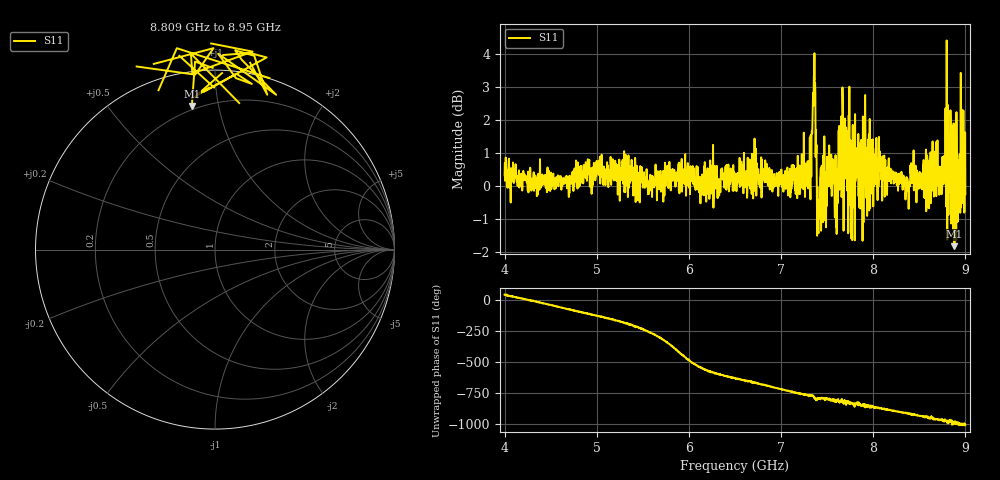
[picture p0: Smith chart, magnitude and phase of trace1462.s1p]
! Created with skrf 1.8.0 (http://scikit-rf.org).
# Hz S RI R 50.0
!freq ReS11 ImS11
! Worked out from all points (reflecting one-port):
!   1601 points, 4 GHz to 9 GHz, reference 50 ohm
!   lowest |S11| = -1.8 dB at 8.881 GHz (marker M1), VSWR 9.56, Z = 8.95 + j41.8 ohm
!   phase of S11 starts at 47 deg and turns -1056 deg over the sweep
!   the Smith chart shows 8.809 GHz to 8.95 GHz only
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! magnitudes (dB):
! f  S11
! 4 GHz  0.3
! 4.625 GHz  0.0
! 5.25 GHz  -0.5
! 5.875 GHz  0.3
! 6.5 GHz  -0.1
! 7.125 GHz  0.3
! 7.294 GHz  0.1
! 7.356 GHz  3.3
! 7.369 GHz  3.1
! 7.397 GHz  -1.2
! 7.412 GHz  -1.0
! 7.525 GHz  0.3
! 7.594 GHz  -0.1
! 7.65 GHz  1.9
! 7.716 GHz  -0.1
! 7.75 GHz  0.1
! 7.928 GHz  0.7
! 7.981 GHz  -0.1
! 8.375 GHz  0.1
! 8.428 GHz  0.3
! 8.6 GHz  -0.7
! 8.656 GHz  1.0
! 8.728 GHz  0.2
! 8.816 GHz  -0.9
! 8.881 GHz  -1.8
! 8.919 GHz  -0.1
! 8.972 GHz  0.5
! 9 GHz  -0.3
